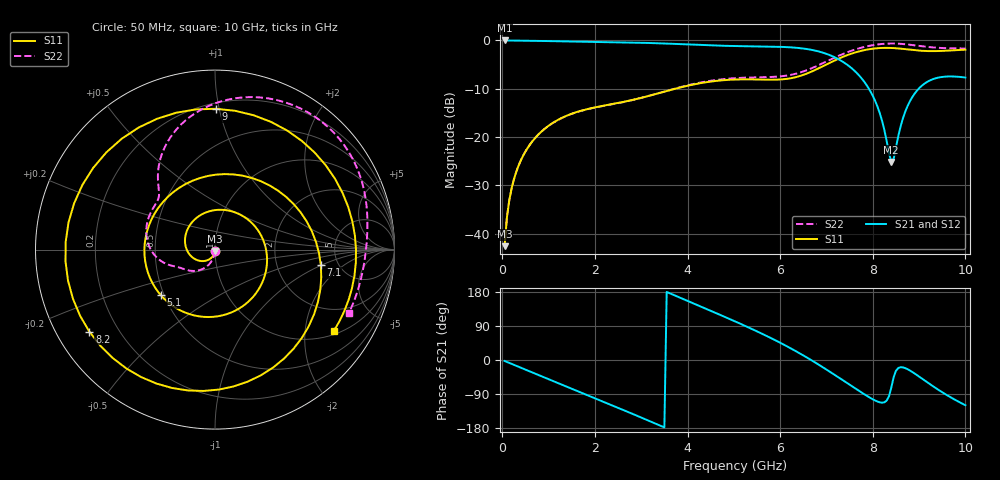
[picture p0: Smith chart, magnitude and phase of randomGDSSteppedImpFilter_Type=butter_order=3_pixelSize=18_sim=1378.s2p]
! freq	dB(S11)	phase(S11)	dB(S12)	phase(S12)
!  dB(S21)	phase(S21)	dB(S22)	phase(S22)
!S-par simulation data
#  GHz  S  DB  R 50
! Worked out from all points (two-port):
!   200 points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, 50 MHz to 10 GHz, reference 50 ohm
!   highest |S21| = 0.00 dB at 50 MHz (marker M1); lowest = -25.2 dB at 8.4 GHz (marker M2)
!   |S21| within 3 dB of the highest: start of sweep to 7.062 GHz
!   lowest |S11| = -42.6 dB at 50 MHz (marker M3), VSWR 1.01, Z = 50 - j0.738 ohm
!   |S11| at or under -10 dB: start of sweep to 3.738 GHz
!   |S22| runs from -42.6 to -0.6 dB; largest |S21 - S12| = 0
!   S11 on the Smith chart (normalised r, x): 50 MHz: 1.00, -0.01; 5.1 GHz: 0.48, -0.29; 7.1 GHz: 3.67, -0.98; 8.2 GHz: 0.10, -0.29; 9 GHz: 0.24, +0.98; 10 GHz: 1.11, -2.83
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0.05  -42.62 -92.8  -0.00 -2.6  -0.00 -2.6  -42.57 -90.9
0.2  -30.71 -103.6  -0.02 -10.2  -0.02 -10.2  -30.69 -96.9
0.5  -23.01 -124.6  -0.05 -25.4  -0.05 -25.4  -22.99 -107.4
1.75  -14.43 144.3  -0.26 -88.2  -0.26 -88.2  -14.47 -142.4
2.5  -12.95 80.2  -0.37 -126.1  -0.37 -126.1  -12.99 -153.8
3.4  -10.87 -1.6  -0.60 -172.6  -0.60 -172.6  -10.85 -164.3
4.35  -8.74 -80.0  -0.97 137.8  -0.97 137.8  -8.60 175.6
5.05  -8.09 -135.7  -1.17 100.6  -1.17 100.6  -7.80 157.4
5.1  -8.08 -139.8  -1.18 97.9  -1.18 97.9  -7.77 156.1
5.85  -8.14 149.2  -1.29 54.9  -1.29 54.9  -7.55 140.3
6.3  -7.70 95.5  -1.48 26.0  -1.48 26.0  -6.98 134.2
6.7  -6.36 43.2  -1.99 -2.4  -1.99 -2.4  -5.68 127.7
7.1  -4.50 -8.3  -3.15 -33.1  -3.15 -33.1  -3.90 115.8
7.4  -3.22 -45.5  -4.71 -57.1  -4.71 -57.1  -2.64 102.9
7.75  -2.16 -88.4  -7.76 -85.2  -7.76 -85.2  -1.51 84.7
8.2  -1.56 -146.9  -16.63 -112.6  -16.63 -112.6  -0.73 58.9
8.35  -1.55 -168.1  -23.35 -95.6  -23.35 -95.6  -0.65 50.2
8.4  -1.56 -175.5  -25.17 -72.9  -25.17 -72.9  -0.64 47.3
8.65  -1.75 146.1  -16.17 -19.5  -16.17 -19.5  -0.74 33.3
9  -2.11 89.7  -9.91 -43.7  -9.91 -43.7  -1.13 15.8
9.45  -2.18 24.1  -7.63 -81.2  -7.63 -81.2  -1.55 -3.1
10  -1.91 -34.4  -7.69 -119.4  -7.69 -119.4  -1.67 -25.3
